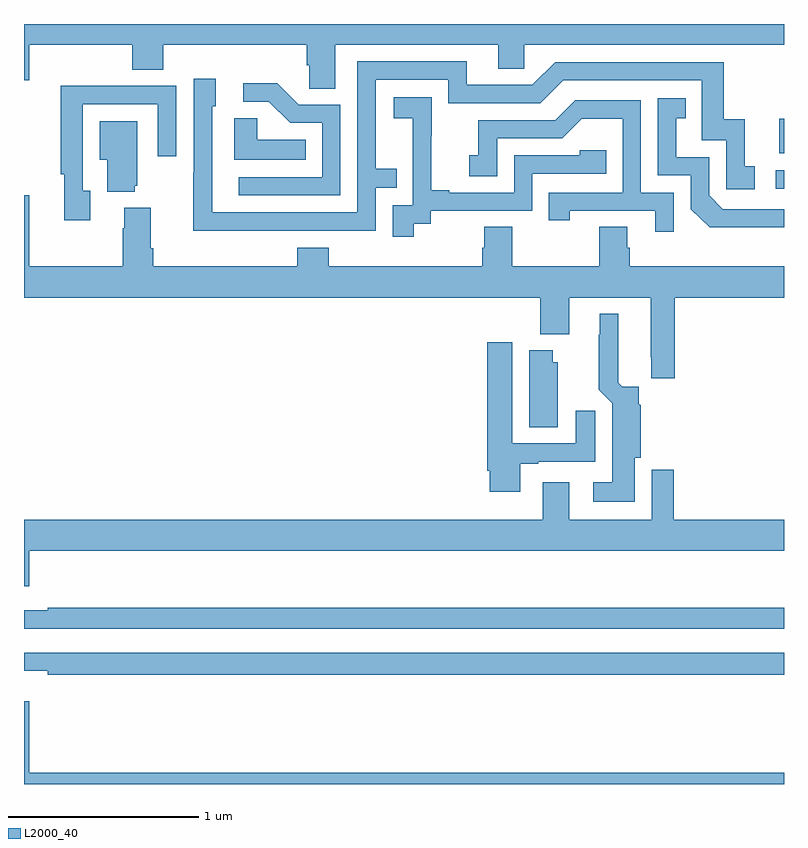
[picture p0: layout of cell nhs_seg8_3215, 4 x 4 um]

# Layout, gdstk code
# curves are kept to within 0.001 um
import gdstk
lib = gdstk.Library(unit=1e-6, precision=1e-09)
def R(c, l, rs):  # rectangles x0, y0, x1, y1
    for r in rs: c.add(gdstk.rectangle(r[:2], r[2:], *l))
def P(c, l, *ps):  # polygons
    for p in ps: c.add(gdstk.Polygon(p, *l))
L2000_40 = (2000, 40)

nhs_seg8_3215 = lib.new_cell('nhs_seg8_3215')
R(nhs_seg8_3215, L2000_40, [(312.957,1157.034,313,1157.13), (312.974,1157.219,313,1157.401)])
P(nhs_seg8_3215, L2000_40, [(310.639,1157.792),(311.495,1157.792),(311.495,1157.665),(311.634,1157.665),(311.634,1157.792),(313,1157.792),(313,1157.9),(309,1157.9),(309,1157.604),(309.028,1157.604),(309.028,1157.792),(309.569,1157.792),(309.569,1157.659),(309.734,1157.659),(309.734,1157.792),(310.487,1157.792),(310.487,1157.683),(310.5,1157.683),(310.5,1157.56),(310.639,1157.56)],
  [(310.355,1156.812),(310.851,1156.812),(310.851,1157.037),(310.961,1157.037),(310.961,1157.138),(310.851,1157.138),(310.851,1157.607),(311.232,1157.607),(311.232,1157.484),(311.718,1157.484),(311.838,1157.604),(312.567,1157.604),(312.567,1157.289),(312.696,1157.289),(312.696,1157.031),(312.847,1157.031),(312.847,1157.151),(312.794,1157.151),(312.794,1157.398),(312.683,1157.398),(312.683,1157.7),(311.796,1157.7),(311.676,1157.58),(311.329,1157.58),(311.329,1157.703),(310.755,1157.703),(310.755,1156.908),(309.99,1156.908),(309.99,1157.466),(310.009,1157.466),(310.009,1157.611),(309.894,1157.611),(309.894,1157.117),(309.892,1157.117),(309.892,1156.811)],
  [(310.665,1157.475),(310.446,1157.475),(310.333,1157.588),(310.155,1157.588),(310.155,1157.49),(310.289,1157.49),(310.4,1157.379),(310.569,1157.379),(310.569,1157.094),(310.131,1157.094),(310.131,1156.998),(310.665,1156.998)],
  [(309.349,1157.022),(309.309,1157.022),(309.309,1157.478),(309.705,1157.478),(309.705,1157.205),(309.801,1157.205),(309.801,1157.574),(309.485,1157.574),(309.485,1157.576),(309.193,1157.576),(309.193,1157.11),(309.212,1157.11),(309.212,1156.866),(309.349,1156.866)],
  [(311.05,1156.849),(311.142,1156.849),(311.142,1156.917),(311.676,1156.917),(311.676,1157.112),(312.065,1157.112),(312.065,1157.235),(311.925,1157.235),(311.925,1157.208),(311.58,1157.208),(311.58,1157.013),(311.239,1157.013),(311.239,1157.026),(311.144,1157.026),(311.144,1157.309),(311.145,1157.309),(311.145,1157.515),(310.947,1157.515),(310.947,1157.405),(311.045,1157.405),(311.045,1157.177),(311.046,1157.177),(311.046,1156.947),(310.941,1156.947),(310.941,1156.779),(311.05,1156.779)],
  [(313,1156.926),(312.678,1156.926),(312.606,1156.998),(312.606,1157.199),(312.433,1157.199),(312.433,1157.403),(312.482,1157.403),(312.482,1157.509),(312.336,1157.509),(312.336,1157.103),(312.51,1157.103),(312.51,1156.926),(312.608,1156.829),(313,1156.829)],
  [(312.42,1157.013),(312.246,1157.013),(312.246,1157.499),(311.9,1157.499),(311.795,1157.394),(311.392,1157.394),(311.392,1157.209),(311.343,1157.209),(311.343,1157.1),(311.49,1157.1),(311.49,1157.298),(311.832,1157.298),(311.936,1157.402),(312.15,1157.402),(312.15,1157.013),(311.761,1157.013),(311.761,1156.866),(311.872,1156.866),(311.872,1156.917),(312.323,1156.917),(312.323,1156.806),(312.42,1156.806)],
  [(310.484,1157.29),(310.227,1157.29),(310.227,1157.405),(310.106,1157.405),(310.106,1157.186),(310.484,1157.186)],
  [(309.584,1157.049),(309.595,1157.049),(309.595,1157.389),(309.398,1157.389),(309.398,1157.186),(309.437,1157.186),(309.437,1157.018),(309.584,1157.018)],
  [(312.424,1156.46),(313,1156.46),(313,1156.624),(312.188,1156.624),(312.188,1156.722),(312.175,1156.722),(312.175,1156.832),(312.028,1156.832),(312.028,1156.624),(311.571,1156.624),(311.571,1156.832),(311.423,1156.832),(311.423,1156.722),(311.411,1156.722),(311.411,1156.624),(310.604,1156.624),(310.604,1156.723),(310.439,1156.723),(310.439,1156.624),(309.68,1156.624),(309.68,1156.72),(309.667,1156.72),(309.667,1156.933),(309.527,1156.933),(309.527,1156.826),(309.52,1156.826),(309.52,1156.624),(309.028,1156.624),(309.028,1156.999),(309,1156.999),(309,1156.46),(311.717,1156.46),(311.717,1156.268),(311.869,1156.268),(311.869,1156.46),(312.299,1156.46),(312.299,1156.147),(312.302,1156.147),(312.302,1156.035),(312.424,1156.035)],
  [(312.214,1155.618),(312.245,1155.618),(312.245,1155.893),(312.235,1155.902),(312.235,1155.99),(312.148,1155.99),(312.127,1156.012),(312.127,1156.375),(312.029,1156.375),(312.029,1156.265),(312.025,1156.265),(312.025,1155.974),(312.095,1155.904),(312.095,1155.487),(311.997,1155.487),(311.997,1155.386),(312.214,1155.386)],
  [(311.611,1155.585),(311.707,1155.585),(311.707,1155.597),(312.007,1155.597),(312.007,1155.865),(311.903,1155.865),(311.903,1155.693),(311.569,1155.693),(311.569,1156.225),(311.438,1156.225),(311.438,1155.55),(311.45,1155.55),(311.45,1155.438),(311.611,1155.438)],
  [(311.809,1156.119),(311.782,1156.119),(311.782,1156.183),(311.66,1156.183),(311.66,1155.778),(311.809,1155.778)],
  [(309.028,1155.128),(313,1155.128),(313,1155.292),(312.419,1155.292),(312.419,1155.553),(312.303,1155.553),(312.303,1155.292),(311.869,1155.292),(311.869,1155.487),(311.729,1155.487),(311.729,1155.292),(309,1155.292),(309,1154.94),(309.028,1154.94)],
  [(313,1154.827),(309.124,1154.827),(309.124,1154.814),(309,1154.814),(309,1154.718),(313,1154.718)],
  [(313,1154.592),(309,1154.592),(309,1154.495),(309.124,1154.495),(309.124,1154.476),(313,1154.476)],
  [(313,1153.96),(309.028,1153.96),(309.028,1154.335),(309,1154.335),(309,1153.9),(313,1153.9)])

lib.write_gds('nhs_seg8_3215.gds')
